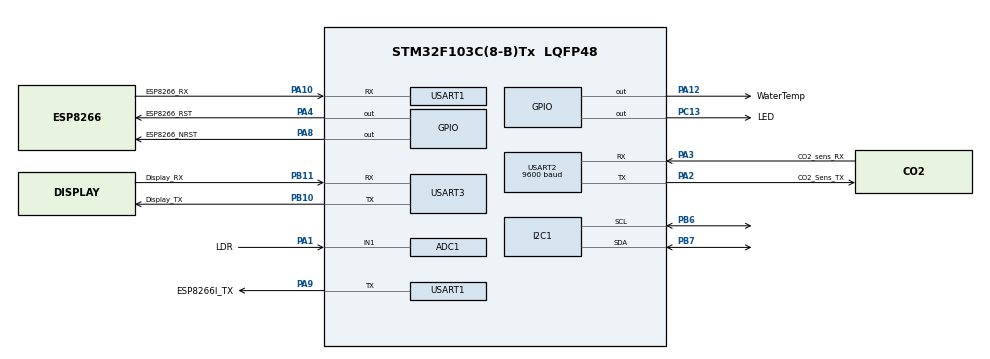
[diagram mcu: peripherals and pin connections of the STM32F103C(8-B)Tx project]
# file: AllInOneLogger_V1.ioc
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ADC1.Channel-20\#ChannelRegularConversion=ADC_CHANNEL_1
ADC1.Channel-IN1=ADC_CHANNEL_1
ADC1.master=1
I2C1.NoStretchMode=I2C_NOSTRETCH_ENABLE
Mcu.Family=STM32F1
Mcu.Name=STM32F103C(8-B)Tx
Mcu.Package=LQFP48
NVIC.PriorityGroup=NVIC_PRIORITYGROUP_4
PA1.GPIO_Label=LDR
PA1.Signal=ADCx_IN1
PA10.GPIO_Label=ESP8266_RX
PA10.Mode=Asynchronous
PA10.Signal=USART1_RX
PA12.GPIO_Label=WaterTemp
PA12.Signal=GPIO_Output
PA13.Mode=Serial_Wire
PA13.Signal=SYS_JTMS-SWDIO
PA14.Mode=Serial_Wire
PA14.Signal=SYS_JTCK-SWCLK
PA2.GPIO_Label=CO2_Sens_TX
PA2.Mode=Asynchronous
PA2.Signal=USART2_TX
PA3.GPIO_Label=CO2_sens_RX
PA3.Mode=Asynchronous
PA3.Signal=USART2_RX
PA4.GPIO_Label=ESP8266_RST
PA4.GPIO_Speed=GPIO_SPEED_FREQ_HIGH
PA4.Signal=GPIO_Output
PA8.GPIO_Label=ESP8266_NRST
PA8.Signal=GPIO_Output
PA9.GPIO_Label=ESP8266l_TX
PA9.Mode=Asynchronous
PA9.Signal=USART1_TX
PB10.GPIO_Label=Display_TX
PB10.Mode=Asynchronous
PB10.Signal=USART3_TX
PB11.GPIO_Label=Display_RX
PB11.Mode=Asynchronous
PB11.Signal=USART3_RX
PB6.Mode=I2C
PB6.Signal=I2C1_SCL
PB7.Mode=I2C
PB7.Signal=I2C1_SDA
PC13-TAMPER-RTC.GPIO_Label=LED
PC13-TAMPER-RTC.Signal=GPIO_Output
PC14-OSC32_IN.Mode=LSE-External-Oscillator
PC14-OSC32_IN.Signal=RCC_OSC32_IN
PC15-OSC32_OUT.Mode=LSE-External-Oscillator
PC15-OSC32_OUT.Signal=RCC_OSC32_OUT
PD0-OSC_IN.Mode=HSE-External-Oscillator
PD0-OSC_IN.Signal=RCC_OSC_IN
PD1-OSC_OUT.Mode=HSE-External-Oscillator
PD1-OSC_OUT.Signal=RCC_OSC_OUT
ProjectManager.HeapSize=0x000
ProjectManager.StackSize=0x400
ProjectManager.TargetToolchain=SW4STM32
RCC.ADCPresc=RCC_ADCPCLK2_DIV6
RCC.AHBFreq_Value=72000000
RCC.APB1CLKDivider=RCC_HCLK_DIV2
RCC.APB1Freq_Value=36000000
RCC.APB1TimFreq_Value=72000000
RCC.APB2Freq_Value=72000000
RCC.APB2TimFreq_Value=72000000
RCC.EnbaleCSS=true
RCC.HCLKFreq_Value=72000000
RCC.HSIState=RCC_HSI_ON
RCC.PLLMUL=RCC_PLL_MUL9
RCC.PLLSourceVirtual=RCC_PLLSOURCE_HSE
RCC.RTCClockSelection=RCC_RTCCLKSOURCE_LSE
RCC.SYSCLKFreq_VALUE=72000000
RCC.SYSCLKSource=RCC_SYSCLKSOURCE_PLLCLK
RCC.USBFreq_Value=72000000
SH.ADCx_IN1.0=ADC1_IN1,IN1
USART2.BaudRate=9600
VP_RTC_No_RTC_Output.Mode=RTC_OUT_NO
board=AllInOneLogger_V1

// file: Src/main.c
/**
 ******************************************************************************
 * File Name          : main.c
 * Description        : Main program body
 ******************************************************************************
 *
 * COPYRIGHT(c) 2016 STMicroelectronics
 *
 * Redistribution and use in source and binary forms, with or without modification,
 * are permitted provided that the following conditions are met:
 *   1. Redistributions of source code must retain the above copyright notice,
 *      this list of conditions and the following disclaimer.
 *   2. Redistributions in binary form must reproduce the above copyright notice,
 *      this list of conditions and the following disclaimer in the documentation
 *      and/or other materials provided with the distribution.
 *   3. Neither the name of STMicroelectronics nor the names of its contributors
 *      may be used to endorse or promote products derived from this software
 *      without specific prior written permission.
 *
 * THIS SOFTWARE IS PROVIDED BY THE COPYRIGHT HOLDERS AND CONTRIBUTORS "AS IS"
 * AND ANY EXPRESS OR IMPLIED WARRANTIES, INCLUDING, BUT NOT LIMITED TO, THE
 * IMPLIED WARRANTIES OF MERCHANTABILITY AND FITNESS FOR A PARTICULAR PURPOSE ARE
 * DISCLAIMED. IN NO EVENT SHALL THE COPYRIGHT HOLDER OR CONTRIBUTORS BE LIABLE
 * FOR ANY DIRECT, INDIRECT, INCIDENTAL, SPECIAL, EXEMPLARY, OR CONSEQUENTIAL
 * DAMAGES (INCLUDING, BUT NOT LIMITED TO, PROCUREMENT OF SUBSTITUTE GOODS OR
 * SERVICES; LOSS OF USE, DATA, OR PROFITS; OR BUSINESS INTERRUPTION) HOWEVER
 * CAUSED AND ON ANY THEORY OF LIABILITY, WHETHER IN CONTRACT, STRICT LIABILITY,
 * OR TORT (INCLUDING NEGLIGENCE OR OTHERWISE) ARISING IN ANY WAY OUT OF THE USE
 * OF THIS SOFTWARE, EVEN IF ADVISED OF THE POSSIBILITY OF SUCH DAMAGE.
 *
 ******************************************************************************
 */
#include "stm32f1xx_hal.h"

/* USER CODE BEGIN Includes */
#include <stdio.h>
#include <string.h>
#include <stdint.h>
#include <stdbool.h>
#include "si7021.h"
#include "MHZ19.h"
#include "ESP8266.h"
#include "NextionDisplay.h"

/* USER CODE END Includes */

ADC_HandleTypeDef hadc1;

I2C_HandleTypeDef hi2c1;

RTC_HandleTypeDef hrtc;

UART_HandleTypeDef huart1;
UART_HandleTypeDef huart2;
UART_HandleTypeDef huart3;

/* USER CODE BEGIN PV */
/* Private variables ---------------------------------------------------------*/
#define displayUpdateInterval 500 //0.5hz = 500ms
#define espUpdateInterval 60000 //every minute = 60000ms

bool CO2Ready = false;

/* USER CODE END PV */

void
SystemClock_Config(void);
void
Error_Handler(void);
static void
MX_GPIO_Init(void);
static void
MX_ADC1_Init(void);
static void
MX_I2C1_Init(void);
static void
MX_RTC_Init(void);
static void
MX_USART1_UART_Init(void);
static void
MX_USART2_UART_Init(void);
static void
MX_USART3_UART_Init(void);

/* USER CODE BEGIN PFP */
/* Private function prototypes -----------------------------------------------*/
int
map(int x, int in_min, int in_max, int out_min, int out_max);
int
getLight(void);

/* USER CODE END PFP */

/* USER CODE BEGIN 0 */
/**
 * TO DO:
 * -add cmd byte to ESP8266 message structure
 * -Move update interval settings to STM32 instead of ESP8266
 * -Divide floating point numbers to a integer-part and fractional-part
 * -Save and recall variables from RTC BKP Like thingsspeak channel key
 * -Add function that gets temp from previous humidity measurement to speed up the code
 * -Receive commands from display (like starting the day counter)
 *
 * TO DO Later:
 * -Add option to configure dark and light voltage levels LDR
 * -Add option to implement offset to CO2 level @Display
 * -add firmware version to settings->about screen @display
 * -increase clock speed (if necessary)
 *
 * Bugs:
 * -CubeMX generated code sets RTC time, Every time code is generated it needs a manual fix
 * -When I2C is busy and SDA is disconnected and reconnected. transmit and receive I2c functions return HAL_TIMEOUT and do nothing else.
 * -UART mismatch CO2 level wrong 3334 ppm or something doesn't change, check with logic analyser if data is transmitted correctly. (fault probably in MCU because reset fixes it)
 * -
 */
/* USER CODE END 0 */

int
main(void)
{

  /* MCU Configuration----------------------------------------------------------*/

  /* Reset of all peripherals, Initializes the Flash interface and the Systick. */
  HAL_Init ();

  /* Configure the system clock */
  SystemClock_Config ();

  /* Initialize all configured peripherals */
  MX_GPIO_Init ();
  MX_ADC1_Init ();
  MX_I2C1_Init ();
  MX_RTC_Init ();
  MX_USART1_UART_Init ();
  MX_USART2_UART_Init ();
  MX_USART3_UART_Init ();

  /* USER CODE BEGIN 2 */
  if (HAL_RTCEx_BKUPRead (&hrtc, 0x01) != 0x01) //checks if RTC time has been set before, If this is the case, skip set time
    { //time has not been set
      ///Configure RTC manually
      RTC_DateTypeDef date; //stores date to be configured
      RTC_TimeTypeDef time; //stores time to be configured

      time.Hours = 17;
      time.Minutes = 34;
      time.Seconds = 0;
      date.WeekDay = RTC_WEEKDAY_SATURDAY;
      date.Date = 17;
      date.Month = RTC_MONTH_SEPTEMBER;
      date.Year = 16;

      HAL_RTC_SetTime (&hrtc, &time, RTC_FORMAT_BIN);
      HAL_RTC_SetDate (&hrtc, &date, RTC_FORMAT_BIN);

      HAL_RTCEx_BKUPWrite (&hrtc, 0x01, 0x01);
    }

  HAL_Delay (3000); //Delay to prevent CO2 sensor at startup from doing weird stuff. and make sure Nextion display is fully booted

  nextionSleepAfter (30); //nextion display goes to sleep mode after 30 seconds

  /* USER CODE END 2 */

  /* Infinite loop */
  /* USER CODE BEGIN WHILE */
  while (1)
    {
      /* update sensors data */
      uint8_t lightLevel = getLight ();
      //float airTemp = getAirtemp ();
      //uint8_t humidity = getHumidity ();
      uint16_t co2 = getCO2 ();

      static uint32_t prevDisplayUpdate = 0;
      if (HAL_GetTick () - prevDisplayUpdate >= displayUpdateInterval)
        { //update sensor data and display every second
          prevDisplayUpdate = HAL_GetTick ();

          HAL_GPIO_TogglePin (LED_GPIO_Port, LED_Pin); //LED toggle

          nextionUpdateLightlevel (lightLevel);
          //nextionUpdateAirtemp (airTemp);
          //nextionUpdateHumidity (humidity);
          nextionUpdateCO2 (co2);
          nextionUpdateTime (); //Updates the time on the display

        }

      static uint32_t prevESPUpdate = 0;
      if (HAL_GetTick () - prevESPUpdate >= espUpdateInterval)
        { //update wifi sensor data and display every minute
          prevESPUpdate = HAL_GetTick ();

          //sendToESP8266 (lightLevel, airTemp, humidity, co2);
        }

      /* USER CODE END WHILE */

    }

}

/** System Clock Configuration
 */
void
SystemClock_Config(void)
{

  RCC_OscInitTypeDef RCC_OscInitStruct;
  RCC_ClkInitTypeDef RCC_ClkInitStruct;
  RCC_PeriphCLKInitTypeDef PeriphClkInit;

  RCC_OscInitStruct.OscillatorType = RCC_OSCILLATORTYPE_HSE | RCC_OSCILLATORTYPE_LSE;
  RCC_OscInitStruct.HSEState = RCC_HSE_ON;
  RCC_OscInitStruct.HSEPredivValue = RCC_HSE_PREDIV_DIV1;
  RCC_OscInitStruct.LSEState = RCC_LSE_ON;
  RCC_OscInitStruct.PLL.PLLState = RCC_PLL_ON;
  RCC_OscInitStruct.PLL.PLLSource = RCC_PLLSOURCE_HSE;
  RCC_OscInitStruct.PLL.PLLMUL = RCC_PLL_MUL9;
  if (HAL_RCC_OscConfig (&RCC_OscInitStruct) != HAL_OK)
    {
      Error_Handler ();
    }

  RCC_ClkInitStruct.ClockType = RCC_CLOCKTYPE_HCLK | RCC_CLOCKTYPE_SYSCLK | RCC_CLOCKTYPE_PCLK1
      | RCC_CLOCKTYPE_PCLK2;
  RCC_ClkInitStruct.SYSCLKSource = RCC_SYSCLKSOURCE_PLLCLK;
  RCC_ClkInitStruct.AHBCLKDivider = RCC_SYSCLK_DIV1;
  RCC_ClkInitStruct.APB1CLKDivider = RCC_HCLK_DIV2;
  RCC_ClkInitStruct.APB2CLKDivider = RCC_HCLK_DIV1;
  if (HAL_RCC_ClockConfig (&RCC_ClkInitStruct, FLASH_LATENCY_2) != HAL_OK)
    {
      Error_Handler ();
    }

  PeriphClkInit.PeriphClockSelection = RCC_PERIPHCLK_RTC | RCC_PERIPHCLK_ADC;
  PeriphClkInit.RTCClockSelection = RCC_RTCCLKSOURCE_LSE;
  PeriphClkInit.AdcClockSelection = RCC_ADCPCLK2_DIV6;
  if (HAL_RCCEx_PeriphCLKConfig (&PeriphClkInit) != HAL_OK)
    {
      Error_Handler ();
    }

  HAL_RCC_EnableCSS ();

  HAL_SYSTICK_Config (HAL_RCC_GetHCLKFreq () / 1000);

  HAL_SYSTICK_CLKSourceConfig (SYSTICK_CLKSOURCE_HCLK);

  /* SysTick_IRQn interrupt configuration */
  HAL_NVIC_SetPriority (SysTick_IRQn, 0, 0);
}

/* ADC1 init function */
static void
MX_ADC1_Init(void)
{

  ADC_ChannelConfTypeDef sConfig;

  /**Common config
   */
  hadc1.Instance = ADC1;
  hadc1.Init.ScanConvMode = ADC_SCAN_DISABLE;
  hadc1.Init.ContinuousConvMode = DISABLE;
  hadc1.Init.DiscontinuousConvMode = DISABLE;
  hadc1.Init.ExternalTrigConv = ADC_SOFTWARE_START;
  hadc1.Init.DataAlign = ADC_DATAALIGN_RIGHT;
  hadc1.Init.NbrOfConversion = 1;
  if (HAL_ADC_Init (&hadc1) != HAL_OK)
    {
      Error_Handler ();
    }

  /**Configure Regular Channel
   */
  sConfig.Channel = ADC_CHANNEL_1;
  sConfig.Rank = 1;
  sConfig.SamplingTime = ADC_SAMPLETIME_1CYCLE_5;
  if (HAL_ADC_ConfigChannel (&hadc1, &sConfig) != HAL_OK)
    {
      Error_Handler ();
    }

}

/* I2C1 init function */
static void
MX_I2C1_Init(void)
{

  hi2c1.Instance = I2C1;
  hi2c1.Init.ClockSpeed = 100000;
  hi2c1.Init.DutyCycle = I2C_DUTYCYCLE_2;
  hi2c1.Init.OwnAddress1 = 0;
  hi2c1.Init.AddressingMode = I2C_ADDRESSINGMODE_7BIT;
  hi2c1.Init.DualAddressMode = I2C_DUALADDRESS_DISABLE;
  hi2c1.Init.OwnAddress2 = 0;
  hi2c1.Init.GeneralCallMode = I2C_GENERALCALL_DISABLE;
  hi2c1.Init.NoStretchMode = I2C_NOSTRETCH_ENABLE;
  if (HAL_I2C_Init (&hi2c1) != HAL_OK)
    {
      Error_Handler ();
    }

}

/* RTC init function */
static void
MX_RTC_Init(void)
{

  /**Initialize RTC and set the Time and Date
   */
  hrtc.Instance = RTC;
  hrtc.Init.AsynchPrediv = RTC_AUTO_1_SECOND;
  hrtc.Init.OutPut = RTC_OUTPUTSOURCE_NONE;
  if (HAL_RTC_Init (&hrtc) != HAL_OK)
    {
      Error_Handler ();
    }

}

/* USART1 init function */
static void
MX_USART1_UART_Init(void)
{

  huart1.Instance = USART1;
  huart1.Init.BaudRate = 115200;
  huart1.Init.WordLength = UART_WORDLENGTH_8B;
  huart1.Init.StopBits = UART_STOPBITS_1;
  huart1.Init.Parity = UART_PARITY_NONE;
  huart1.Init.Mode = UART_MODE_TX_RX;
  huart1.Init.HwFlowCtl = UART_HWCONTROL_NONE;
  huart1.Init.OverSampling = UART_OVERSAMPLING_16;
  if (HAL_UART_Init (&huart1) != HAL_OK)
    {
      Error_Handler ();
    }

}

/* USART2 init function */
static void
MX_USART2_UART_Init(void)
{

  huart2.Instance = USART2;
  huart2.Init.BaudRate = 9600;
  huart2.Init.WordLength = UART_WORDLENGTH_8B;
  huart2.Init.StopBits = UART_STOPBITS_1;
  huart2.Init.Parity = UART_PARITY_NONE;
  huart2.Init.Mode = UART_MODE_TX_RX;
  huart2.Init.HwFlowCtl = UART_HWCONTROL_NONE;
  huart2.Init.OverSampling = UART_OVERSAMPLING_16;
  if (HAL_UART_Init (&huart2) != HAL_OK)
    {
      Error_Handler ();
    }

}

/* USART3 init function */
static void
MX_USART3_UART_Init(void)
{

  huart3.Instance = USART3;
  huart3.Init.BaudRate = 115200;
  huart3.Init.WordLength = UART_WORDLENGTH_8B;
  huart3.Init.StopBits = UART_STOPBITS_1;
  huart3.Init.Parity = UART_PARITY_NONE;
  huart3.Init.Mode = UART_MODE_TX_RX;
  huart3.Init.HwFlowCtl = UART_HWCONTROL_NONE;
  huart3.Init.OverSampling = UART_OVERSAMPLING_16;
  if (HAL_UART_Init (&huart3) != HAL_OK)
    {
      Error_Handler ();
    }

}

/** Configure pins as
 * Analog
 * Input
 * Output
 * EVENT_OUT
 * EXTI
 */
static void
MX_GPIO_Init(void)
{

  GPIO_InitTypeDef GPIO_InitStruct;

  /* GPIO Ports Clock Enable */
  __HAL_RCC_GPIOC_CLK_ENABLE ();
  __HAL_RCC_GPIOD_CLK_ENABLE ();
  __HAL_RCC_GPIOA_CLK_ENABLE ();
  __HAL_RCC_GPIOB_CLK_ENABLE ();

  /*Configure GPIO pin Output Level */
  HAL_GPIO_WritePin (LED_GPIO_Port, LED_Pin, GPIO_PIN_RESET);

  /*Configure GPIO pin Output Level */
  HAL_GPIO_WritePin (GPIOA, ESP8266_RST_Pin | ESP8266_NRST_Pin | WaterTemp_Pin, GPIO_PIN_RESET);

  /*Configure GPIO pin : LED_Pin */
  GPIO_InitStruct.Pin = LED_Pin;
  GPIO_InitStruct.Mode = GPIO_MODE_OUTPUT_PP;
  GPIO_InitStruct.Speed = GPIO_SPEED_FREQ_LOW;
  HAL_GPIO_Init (LED_GPIO_Port, &GPIO_InitStruct);

  /*Configure GPIO pin : ESP8266_RST_Pin */
  GPIO_InitStruct.Pin = ESP8266_RST_Pin;
  GPIO_InitStruct.Mode = GPIO_MODE_OUTPUT_PP;
  GPIO_InitStruct.Speed = GPIO_SPEED_FREQ_HIGH;
  HAL_GPIO_Init (ESP8266_RST_GPIO_Port, &GPIO_InitStruct);

  /*Configure GPIO pins : ESP8266_NRST_Pin WaterTemp_Pin */
  GPIO_InitStruct.Pin = ESP8266_NRST_Pin | WaterTemp_Pin;
  GPIO_InitStruct.Mode = GPIO_MODE_OUTPUT_PP;
  GPIO_InitStruct.Speed = GPIO_SPEED_FREQ_LOW;
  HAL_GPIO_Init (GPIOA, &GPIO_InitStruct);

}

/* USER CODE BEGIN 4 */
int
map(int x, int in_min, int in_max, int out_min, int out_max)
{
  if (x < in_min)
    return out_min;
  if (x > in_max)
    return out_max;
  return (x - in_min) * (out_max - out_min) / (in_max - in_min) + out_min;
}

int
getLight()
{
  HAL_ADC_Start (&hadc1);
  HAL_ADC_PollForConversion (&hadc1, 1000);
  uint32_t ldr = HAL_ADC_GetValue (&hadc1);
  HAL_ADC_Stop (&hadc1);
  return map (ldr, 300, 3500, 0, 100);
}

/* USER CODE END 4 */

void
Error_Handler(void)
{
  while (1)
    {
    }
}

/************************ (C) COPYRIGHT STMicroelectronics *****END OF FILE****/
